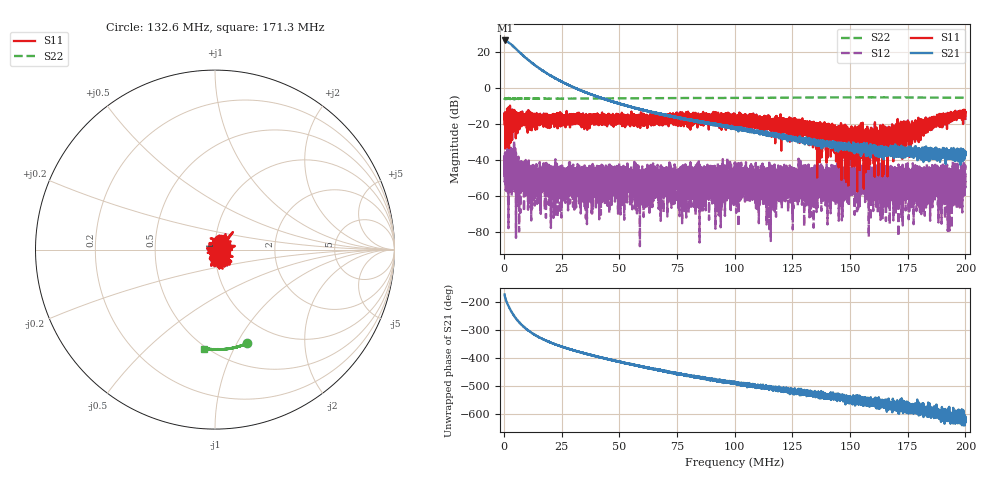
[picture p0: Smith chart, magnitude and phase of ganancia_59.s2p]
# Hz S DB R 50
! CMT, M5065, 19127446, 24.2.4/2
! Date: 11/8/2024 4:19:31 PM
! Data: Format (Calibration Info)
! Freq	S11:dB/Ang(F2)	S21:dB/Ang(F2)	S12:dB/Ang(F2)	S22:dB/Ang(F2)
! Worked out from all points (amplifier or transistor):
!   9000 points, 300 kHz to 200 MHz, reference 50 ohm
!   highest |S21| = 26.6 dB at 411 kHz (marker M1)
!   |S21| within 3 dB of that: start of sweep to 3.802 MHz
!   unconditionally stable (mu >= 1): start of sweep to 1.586 MHz; 1.588 MHz to 1.919 MHz; 2.08 MHz to end of sweep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
!   at 33.59 MHz: K = 93.17, MAG = 0.0 dB, |S12| = -46.8 dB
!   at 100.2 MHz: K = 1943.57, MAG = -20.3 dB, |S12| = -53.1 dB
!   at 200 MHz: K = 7356.64, MAG = -35.7 dB, |S12| = -49.3 dB
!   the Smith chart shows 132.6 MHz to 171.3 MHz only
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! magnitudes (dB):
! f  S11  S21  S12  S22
! 300 kHz  -16.9  26.6  -48.3  -5.8
! 411 kHz  -20.7  26.6  -44.1  -5.9
! 4.405 MHz  -20.6  22.9  -29.3  -6.2
! 6.225 MHz  -19.3  20.7  -55.0  -5.8
! 9.376 MHz  -16.7  17.0  -52.2  -5.8
! 11.4 MHz  -15.2  14.9  -44.1  -5.8
! 33.59 MHz  -18.3  -1.4  -46.8  -5.7
! 35.78 MHz  -17.8  -2.4  -53.0  -5.7
! 47.92 MHz  -19.4  -7.8  -50.9  -5.6
! 52.27 MHz  -15.7  -9.4  -54.0  -5.6
! 66.87 MHz  -15.6  -14.4  -45.8  -5.5
! 100.2 MHz  -18.4  -21.8  -53.1  -5.4
! 133.4 MHz  -23.5  -29.5  -45.1  -5.1
! 149.3 MHz  -27.4  -31.4  -44.2  -5.1
! 154.5 MHz  -30.7  -33.7  -46.0  -5.1
! 156.7 MHz  -34.8  -33.8  -51.2  -5.1
! 166.7 MHz  -31.5  -36.2  -52.9  -5.1
! 174.4 MHz  -24.3  -37.4  -42.9  -5.2
! 181.5 MHz  -21.3  -34.4  -51.2  -5.2
! 186.9 MHz  -19.3  -36.6  -51.4  -5.2
! 197 MHz  -13.9  -36.8  -58.1  -5.3
! 200 MHz  -17.1  -37.3  -49.3  -5.3
